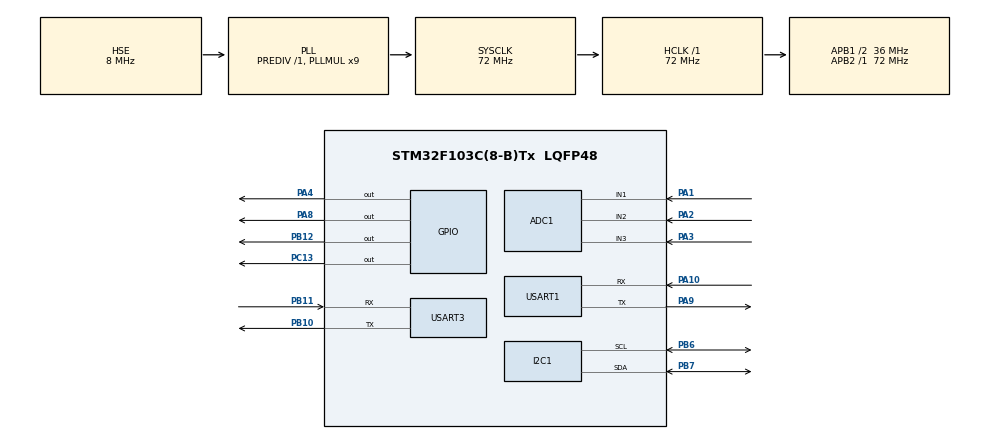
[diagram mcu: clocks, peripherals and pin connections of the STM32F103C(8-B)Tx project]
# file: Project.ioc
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ADC1.Channel-1\#ChannelRegularConversion=ADC_CHANNEL_1
ADC1.Channel-2\#ChannelRegularConversion=ADC_CHANNEL_2
ADC1.Channel-3\#ChannelRegularConversion=ADC_CHANNEL_3
ADC1.ContinuousConvMode=DISABLE
ADC1.ExternalTrigConv=ADC_EXTERNALTRIGCONV_T3_TRGO
ADC1.NbrOfConversion=3
ADC1.NbrOfConversionFlag=1
ADC1.Rank-1\#ChannelRegularConversion=1
ADC1.Rank-2\#ChannelRegularConversion=2
ADC1.Rank-3\#ChannelRegularConversion=3
ADC1.SamplingTime-1\#ChannelRegularConversion=ADC_SAMPLETIME_71CYCLES_5
ADC1.SamplingTime-2\#ChannelRegularConversion=ADC_SAMPLETIME_71CYCLES_5
ADC1.SamplingTime-3\#ChannelRegularConversion=ADC_SAMPLETIME_71CYCLES_5
ADC1.master=1
Dma.ADC1.0.Direction=DMA_PERIPH_TO_MEMORY
Dma.ADC1.0.Instance=DMA1_Channel1
Dma.ADC1.0.MemDataAlignment=DMA_MDATAALIGN_HALFWORD
Dma.ADC1.0.MemInc=DMA_MINC_ENABLE
Dma.ADC1.0.Mode=DMA_CIRCULAR
Dma.ADC1.0.PeriphDataAlignment=DMA_PDATAALIGN_HALFWORD
Dma.ADC1.0.PeriphInc=DMA_PINC_DISABLE
Dma.ADC1.0.Priority=DMA_PRIORITY_MEDIUM
Dma.Request0=ADC1
Dma.Request1=USART1_RX
Dma.USART1_RX.1.Direction=DMA_PERIPH_TO_MEMORY
Dma.USART1_RX.1.Instance=DMA1_Channel5
Dma.USART1_RX.1.MemDataAlignment=DMA_MDATAALIGN_BYTE
Dma.USART1_RX.1.MemInc=DMA_MINC_ENABLE
Dma.USART1_RX.1.Mode=DMA_CIRCULAR
Dma.USART1_RX.1.PeriphDataAlignment=DMA_PDATAALIGN_BYTE
Dma.USART1_RX.1.PeriphInc=DMA_PINC_DISABLE
Dma.USART1_RX.1.Priority=DMA_PRIORITY_MEDIUM
FREERTOS.Tasks01=defaultTask,24,128,StartDefaultTask,Default,NULL,Dynamic,NULL,NULL
FREERTOS.configTOTAL_HEAP_SIZE=9000
I2C1.I2C_Mode=I2C_Fast
IWDG.Prescaler=IWDG_PRESCALER_64
IWDG.Reload=999
Mcu.Family=STM32F1
Mcu.Name=STM32F103C(8-B)Tx
Mcu.Package=LQFP48
NVIC.DMA1_Channel1_IRQn=true\:5\:0\:false\:false\:true\:true\:false\:true\:true
NVIC.DMA1_Channel5_IRQn=true\:5\:0\:false\:false\:true\:true\:false\:true\:true
NVIC.PriorityGroup=NVIC_PRIORITYGROUP_4
NVIC.TIM4_IRQn=true\:15\:0\:false\:false\:true\:false\:false\:true\:true
NVIC.TimeBase=TIM4_IRQn
NVIC.TimeBaseIP=TIM4
NVIC.USART1_IRQn=true\:5\:0\:false\:false\:true\:true\:true\:true\:true
PA1.Signal=ADCx_IN1
PA10.Mode=Asynchronous
PA10.Signal=USART1_RX
PA13.Mode=Serial_Wire
PA13.Signal=SYS_JTMS-SWDIO
PA14.Mode=Serial_Wire
PA14.Signal=SYS_JTCK-SWCLK
PA2.Signal=ADCx_IN2
PA3.Signal=ADCx_IN3
PA4.GPIO_ModeDefaultOutputPP=GPIO_MODE_OUTPUT_OD
PA4.GPIO_PuPd=GPIO_PULLUP
PA4.Signal=GPIO_Output
PA8.Signal=GPIO_Output
PA9.Mode=Asynchronous
PA9.Signal=USART1_TX
PB10.Mode=Asynchronous
PB10.Signal=USART3_TX
PB11.Mode=Asynchronous
PB11.Signal=USART3_RX
PB12.Signal=GPIO_Output
PB6.Mode=I2C
PB6.Signal=I2C1_SCL
PB7.Mode=I2C
PB7.Signal=I2C1_SDA
PC13-TAMPER-RTC.Signal=GPIO_Output
PD0-OSC_IN.Mode=HSE-External-Oscillator
PD0-OSC_IN.Signal=RCC_OSC_IN
PD1-OSC_OUT.Mode=HSE-External-Oscillator
PD1-OSC_OUT.Signal=RCC_OSC_OUT
ProjectManager.HeapSize=0x200
ProjectManager.StackSize=0x400
ProjectManager.TargetToolchain=MDK-ARM V5.32
RCC.ADCPresc=RCC_ADCPCLK2_DIV6
RCC.AHBFreq_Value=72000000
RCC.APB1CLKDivider=RCC_HCLK_DIV2
RCC.APB1Freq_Value=36000000
RCC.APB1TimFreq_Value=72000000
RCC.APB2Freq_Value=72000000
RCC.APB2TimFreq_Value=72000000
RCC.HCLKFreq_Value=72000000
RCC.PLLMUL=RCC_PLL_MUL9
RCC.PLLSourceVirtual=RCC_PLLSOURCE_HSE
RCC.SYSCLKFreq_VALUE=72000000
RCC.SYSCLKSource=RCC_SYSCLKSOURCE_PLLCLK
RCC.USBFreq_Value=72000000
SH.ADCx_IN1.0=ADC1_IN1,IN1
SH.ADCx_IN2.0=ADC1_IN2,IN2
SH.ADCx_IN3.0=ADC1_IN3,IN3
TIM3.Period=99
TIM3.Prescaler=7199
TIM3.TIM_MasterOutputTrigger=TIM_TRGO_UPDATE
USART1.VirtualMode=VM_ASYNC
USART3.VirtualMode=VM_ASYNC
VP_FREERTOS_VS_CMSIS_V2.Mode=CMSIS_V2
VP_IWDG_VS_IWDG.Mode=IWDG_Activate
VP_SYS_VS_tim4.Mode=TIM4
VP_TIM3_VS_ClockSourceINT.Mode=Internal
board=custom

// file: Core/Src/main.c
/* USER CODE BEGIN Header */
/**
  ******************************************************************************
  * @file           : main.c
  * @brief          : Main program body
  ******************************************************************************
  * @attention
  *
  * Copyright (c) 2026 STMicroelectronics.
  * All rights reserved.
  *
  * This software is licensed under terms that can be found in the LICENSE file
  * in the root directory of this software component.
  * If no LICENSE file comes with this software, it is provided AS-IS.
  *
  ******************************************************************************
  */
/* USER CODE END Header */
#include "main.h"
#include "cmsis_os.h"
#include "adc.h"
#include "dma.h"
#include "i2c.h"
#include "iwdg.h"
#include "tim.h"
#include "usart.h"
#include "gpio.h"

/* USER CODE BEGIN Includes */
#include <stdio.h>
/* USER CODE END Includes */

void SystemClock_Config(void);
void MX_FREERTOS_Init(void);

/* USER CODE BEGIN 0 */
// int fputc(int ch, FILE *f)
// {
//     HAL_UART_Transmit(&huart3, (uint8_t *)&ch, 1, HAL_MAX_DELAY);
//     return ch;
// }
/* USER CODE END 0 */

int main(void)
{

  /* MCU Configuration--------------------------------------------------------*/

  /* Reset of all peripherals, Initializes the Flash interface and the Systick. */
  HAL_Init();

  /* Configure the system clock */
  SystemClock_Config();

  /* Initialize all configured peripherals */
  MX_GPIO_Init();
  MX_DMA_Init();
  MX_ADC1_Init();
  MX_I2C1_Init();
  MX_USART1_UART_Init();
  MX_TIM3_Init();
  MX_IWDG_Init();
  MX_USART3_UART_Init();

  /* Init scheduler */
  osKernelInitialize();

  /* Call init function for freertos objects (in cmsis_os2.c) */
  MX_FREERTOS_Init();

  /* Start scheduler */
  osKernelStart();

  /* We should never get here as control is now taken by the scheduler */

  /* Infinite loop */
  while (1)
  {

  }
}

void SystemClock_Config(void)
{
  RCC_OscInitTypeDef RCC_OscInitStruct = {0};
  RCC_ClkInitTypeDef RCC_ClkInitStruct = {0};
  RCC_PeriphCLKInitTypeDef PeriphClkInit = {0};

  /** Initializes the RCC Oscillators according to the specified parameters
  * in the RCC_OscInitTypeDef structure.
  */
  RCC_OscInitStruct.OscillatorType = RCC_OSCILLATORTYPE_LSI|RCC_OSCILLATORTYPE_HSE;
  RCC_OscInitStruct.HSEState = RCC_HSE_ON;
  RCC_OscInitStruct.HSEPredivValue = RCC_HSE_PREDIV_DIV1;
  RCC_OscInitStruct.HSIState = RCC_HSI_ON;
  RCC_OscInitStruct.LSIState = RCC_LSI_ON;
  RCC_OscInitStruct.PLL.PLLState = RCC_PLL_ON;
  RCC_OscInitStruct.PLL.PLLSource = RCC_PLLSOURCE_HSE;
  RCC_OscInitStruct.PLL.PLLMUL = RCC_PLL_MUL9;
  if (HAL_RCC_OscConfig(&RCC_OscInitStruct) != HAL_OK)
  {
    Error_Handler();
  }

  /** Initializes the CPU, AHB and APB buses clocks
  */
  RCC_ClkInitStruct.ClockType = RCC_CLOCKTYPE_HCLK|RCC_CLOCKTYPE_SYSCLK
                              |RCC_CLOCKTYPE_PCLK1|RCC_CLOCKTYPE_PCLK2;
  RCC_ClkInitStruct.SYSCLKSource = RCC_SYSCLKSOURCE_PLLCLK;
  RCC_ClkInitStruct.AHBCLKDivider = RCC_SYSCLK_DIV1;
  RCC_ClkInitStruct.APB1CLKDivider = RCC_HCLK_DIV2;
  RCC_ClkInitStruct.APB2CLKDivider = RCC_HCLK_DIV1;

  if (HAL_RCC_ClockConfig(&RCC_ClkInitStruct, FLASH_LATENCY_2) != HAL_OK)
  {
    Error_Handler();
  }
  PeriphClkInit.PeriphClockSelection = RCC_PERIPHCLK_ADC;
  PeriphClkInit.AdcClockSelection = RCC_ADCPCLK2_DIV6;
  if (HAL_RCCEx_PeriphCLKConfig(&PeriphClkInit) != HAL_OK)
  {
    Error_Handler();
  }
}

void HAL_TIM_PeriodElapsedCallback(TIM_HandleTypeDef *htim)
{
  if (htim->Instance == TIM4) {
    HAL_IncTick();
  }
}

void Error_Handler(void)
{
  __disable_irq();
  while (1)
  {
  }
}

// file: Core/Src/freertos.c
/* USER CODE BEGIN Header */
/**
  ******************************************************************************
  * File Name          : freertos.c
  * Description        : Code for freertos applications
  ******************************************************************************
  * @attention
  *
  * Copyright (c) 2026 STMicroelectronics.
  * All rights reserved.
  *
  * This software is licensed under terms that can be found in the LICENSE file
  * in the root directory of this software component.
  * If no LICENSE file comes with this software, it is provided AS-IS.
  *
  ******************************************************************************
  */
/* USER CODE END Header */

#include "FreeRTOS.h"
#include "task.h"
#include "main.h"
#include "cmsis_os.h"

/* USER CODE BEGIN Includes */
#include "driver_oled.h"
#include "driver_led.h"
#include "driver_buzzer.h"
#include "driver_dht11.h"
#include "typedefs.h"

#include "sensor_task.h"
#include "process_task.h"
#include "display_task.h"
#include "watchdog_task.h"
#include "watchdog_service.h"
#include "safety_task.h"
#include "comm_task.h"

#include "queue.h"
#include "semphr.h"
/* USER CODE END Includes */

/* USER CODE BEGIN PD */
#define PRIO_SENSOR      osPriorityRealtime
#define PRIO_PROCESS     osPriorityHigh
#define PRIO_SAFETY      osPriorityAboveNormal
#define PRIO_WATCHDOG    osPriorityAboveNormal
#define PRIO_DISPLAY     osPriorityNormal
#define PRIO_COMM        osPriorityNormal
#define PRIO_LOG         osPriorityLow
/* USER CODE END PD */

/* USER CODE BEGIN Variables */
QueueHandle_t DisplayQueue;
QueueHandle_t SafeQueue;
QueueHandle_t CommQueue;
SemaphoreHandle_t esp_rx_semaphore;
SemaphoreHandle_t esp_buf_mutex;
SemaphoreHandle_t esp_tx_mutex;
/* USER CODE END Variables */
/* Definitions for defaultTask */
osThreadId_t defaultTaskHandle;
const osThreadAttr_t defaultTask_attributes = {
  .name = "defaultTask",
  .stack_size = 128 * 4,
  .priority = (osPriority_t) osPriorityNormal,
};

void StartDefaultTask(void *argument);

void MX_FREERTOS_Init(void); /* (MISRA C 2004 rule 8.1) */

void MX_FREERTOS_Init(void) {
  /* USER CODE BEGIN Init */
  OLED_Init();
  LED_Init();
  Buzzer_Init();
  DHT11_Init();
  Watchdog_Init();
  /* USER CODE END Init */

  /* USER CODE BEGIN RTOS_QUEUES */
  /* add queues, ... */
  SafeQueue = xQueueCreate(1, sizeof(system_data_t));
  DisplayQueue = xQueueCreate(1, sizeof(system_data_t));
  CommQueue = xQueueCreate(1,sizeof(system_data_t));
  esp_rx_semaphore = xSemaphoreCreateBinary();
  esp_buf_mutex = xSemaphoreCreateMutex();
  esp_tx_mutex = xSemaphoreCreateMutex();
  /* USER CODE END RTOS_QUEUES */

  /* Create the thread(s) */
  /* creation of defaultTask */
  defaultTaskHandle = osThreadNew(StartDefaultTask, NULL, &defaultTask_attributes);

  /* USER CODE BEGIN RTOS_THREADS */
  /* add threads, ... */
  xTaskCreate(SensorTask, "SensorTask", 128, NULL, PRIO_SENSOR, NULL);
  xTaskCreate(ProcessTask, "ProcessTask", 128, NULL, PRIO_PROCESS, NULL);
  xTaskCreate(DisplayTask, "DisplayTask", 128, NULL, PRIO_DISPLAY, NULL);
  xTaskCreate(SafetyTask, "SafetyTask", 128, NULL, PRIO_SAFETY, NULL);
  xTaskCreate(WatchdogTask, "WatchdogTask", 128, NULL, PRIO_WATCHDOG,NULL);
  xTaskCreate(CommTask, "CommTask", 1024, NULL, PRIO_COMM, NULL);
  /* USER CODE END RTOS_THREADS */

}

void StartDefaultTask(void *argument)
{
  /* USER CODE BEGIN StartDefaultTask */
  /* Infinite loop */
  for(;;)
  {
    vTaskDelay(100);
  }
  /* USER CODE END StartDefaultTask */
}
